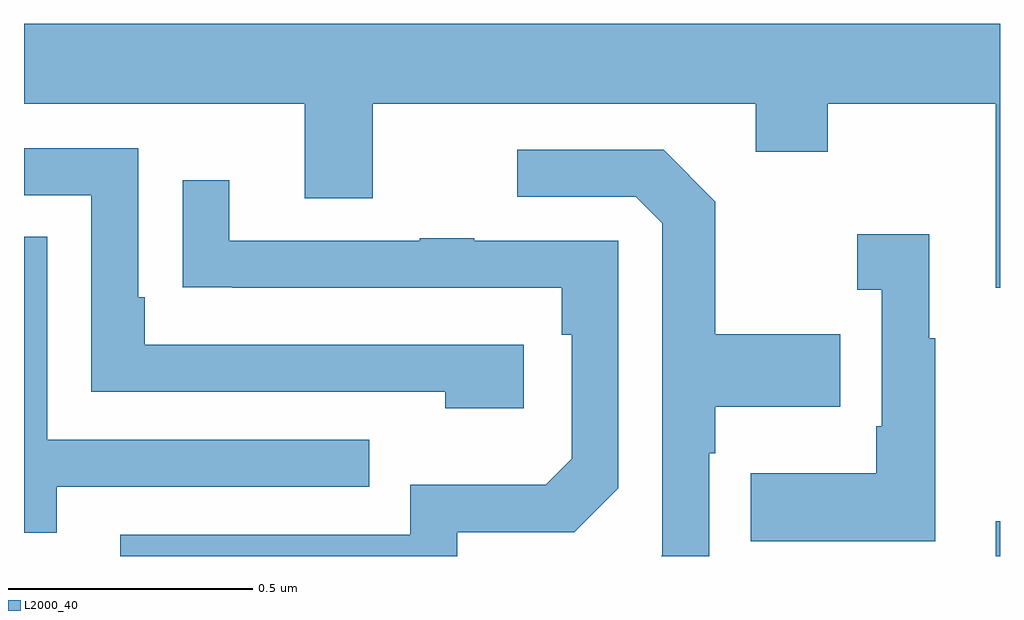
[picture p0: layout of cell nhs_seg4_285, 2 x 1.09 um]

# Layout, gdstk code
import gdstk
lib = gdstk.Library(unit=1e-6, precision=1e-09)
def R(c, l, rs):  # rectangles x0, y0, x1, y1
    for r in rs: c.add(gdstk.rectangle(r[:2], r[2:], *l))
def P(c, l, *ps):  # polygons
    for p in ps: c.add(gdstk.Polygon(p, *l))
L2000_40 = (2000, 40)

nhs_seg4_285 = lib.new_cell('nhs_seg4_285')
R(nhs_seg4_285, L2000_40, [(115.991,787.9,116,787.972)])
P(nhs_seg4_285, L2000_40, [(116,788.992),(114,788.992),(114,788.828),(114.575,788.828),(114.575,788.634),(114.715,788.634),(114.715,788.828),(115.499,788.828),(115.499,788.729),(115.647,788.729),(115.647,788.828),(115.991,788.828),(115.991,788.451),(116,788.451)],
  [(115.024,788.334),(114.247,788.334),(114.247,788.431),(114.234,788.431),(114.234,788.736),(114,788.736),(114,788.64),(114.138,788.64),(114.138,788.238),(114.863,788.238),(114.863,788.204),(115.024,788.204)],
  [(115.404,788.111),(115.417,788.111),(115.417,788.207),(115.673,788.207),(115.673,788.355),(115.417,788.355),(115.417,788.627),(115.311,788.733),(115.011,788.733),(115.011,788.637),(115.254,788.637),(115.308,788.583),(115.308,787.902),(115.306,787.9),(115.404,787.9)],
  [(114.888,787.95),(115.128,787.95),(115.218,788.04),(115.218,788.547),(114.923,788.547),(114.923,788.552),(114.811,788.552),(114.811,788.547),(114.421,788.547),(114.421,788.671),(114.325,788.671),(114.325,788.452),(114.427,788.452),(114.427,788.451),(115.102,788.451),(115.102,788.354),(115.122,788.354),(115.122,788.1),(115.069,788.047),(114.792,788.047),(114.792,787.944),(114.197,787.944),(114.197,787.9),(114.888,787.9)],
  [(115.867,788.347),(115.855,788.347),(115.855,788.56),(115.707,788.56),(115.707,788.447),(115.758,788.447),(115.758,788.167),(115.746,788.167),(115.746,788.071),(115.489,788.071),(115.489,787.931),(115.867,787.931)],
  [(114.067,788.043),(114.707,788.043),(114.707,788.139),(114.048,788.139),(114.048,788.555),(114,788.555),(114,787.949),(114.067,787.949)])

lib.write_gds('nhs_seg4_285.gds')
